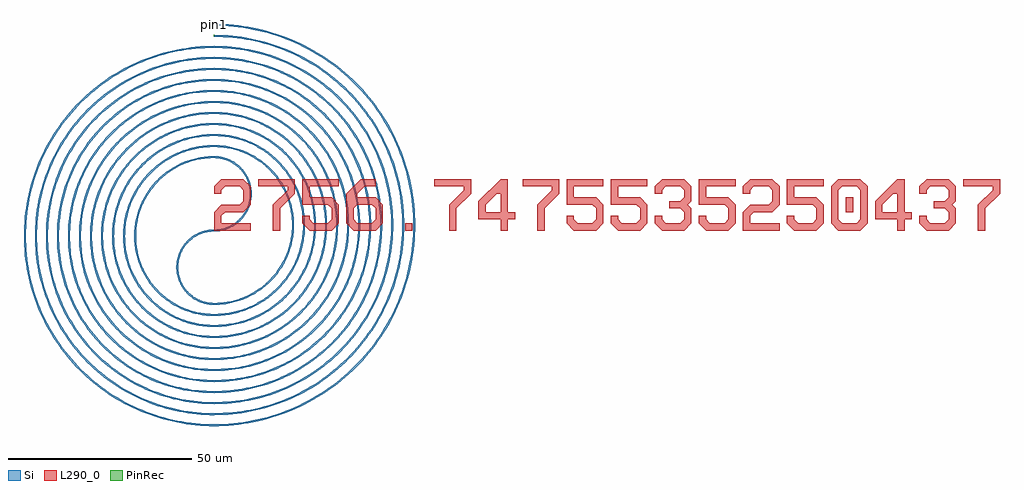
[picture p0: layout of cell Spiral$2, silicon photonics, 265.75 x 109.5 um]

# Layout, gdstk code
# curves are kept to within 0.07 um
import gdstk
lib = gdstk.Library(unit=1e-6, precision=1e-09)
def R(c, l, rs):  # rectangles x0, y0, x1, y1
    for r in rs: c.add(gdstk.rectangle(r[:2], r[2:], *l))
def P(c, l, *ps):  # polygons
    for p in ps: c.add(gdstk.Polygon(p, *l))
Si = (1, 0)
PinRec = (1, 10)
L290_0 = (290, 0)

spiral_2 = lib.new_cell('Spiral$2')
P(spiral_2, Si, [(0,-0.25),(0,0.25),(1.194,0.323),(2.369,0.542),(3.509,0.903),(4.384,1.291),(5.808,2.169),(7.061,3.277),(8.237,4.784),(9.097,6.491),(9.563,8.098),(9.75,10),(9.563,11.902),(9.097,13.509),(8.237,15.216),(7.061,16.723),(5.808,17.831),(4.384,18.709),(3.509,19.097),(2.369,19.458),(1.194,19.677),(0,19.75),(0,20.25),(1.005,20.201),(2,20.053),(2.975,19.809),(3.923,19.47),(5.695,18.523),(7.248,17.248),(8.523,15.695),(9.47,13.923),(9.809,12.975),(10.053,12),(10.201,11.005),(10.25,10),(10.201,8.995),(10.053,8),(9.809,7.025),(9.47,6.077),(8.523,4.305),(7.248,2.752),(5.695,1.477),(3.923,0.53),(2.975,0.191),(2,-0.053),(1.005,-0.201)],
  [(0,-20.25),(-1.005,-20.201),(-2,-20.053),(-3.923,-19.47),(-5.695,-18.523),(-7.248,-17.248),(-8.523,-15.695),(-9.47,-13.923),(-10.053,-12),(-10.201,-11.005),(-10.25,-10),(-10.201,-8.995),(-10.001,-7.754),(-9.371,-5.846),(-8.792,-4.73),(-8.233,-3.894),(-7.424,-2.932),(-6.695,-2.239),(-5.052,-1.082),(-4.154,-0.629),(-3.215,-0.267),(-1.504,0.139),(0.956,0.297),(2.136,0.487),(3.509,0.903),(4.806,1.517),(6.185,2.463),(7.537,3.815),(8.599,5.404),(9.258,6.942),(9.563,8.098),(9.724,9.283),(9.747,10.239),(9.644,11.431),(9.458,12.369),(9.097,13.509),(8.599,14.596),(7.971,15.614),(7.224,16.548),(6.548,17.224),(5.013,18.363),(3.951,18.914),(2.6,19.397),(1.194,19.677),(0,19.75),(0,20.25),(1.005,20.201),(2,20.053),(3.923,19.47),(5.695,18.523),(7.248,17.248),(8.523,15.695),(9.47,13.923),(10.053,12),(10.201,11.005),(10.25,10),(10.201,8.995),(10.001,7.754),(9.371,5.846),(8.792,4.73),(8.233,3.894),(7.424,2.932),(6.695,2.239),(5.052,1.082),(4.154,0.629),(3.215,0.267),(1.504,-0.139),(-0.956,-0.297),(-2.136,-0.487),(-3.509,-0.903),(-4.806,-1.517),(-6.185,-2.463),(-7.537,-3.815),(-8.599,-5.404),(-9.258,-6.942),(-9.563,-8.098),(-9.724,-9.283),(-9.747,-10.239),(-9.644,-11.431),(-9.458,-12.369),(-9.097,-13.509),(-8.599,-14.596),(-7.971,-15.614),(-7.224,-16.548),(-6.548,-17.224),(-5.013,-18.363),(-3.951,-18.914),(-2.6,-19.397),(-1.194,-19.677),(0,-19.75)],
  [(0,-20.25),(0,-19.75),(2.083,-19.648),(4.146,-19.342),(6.169,-18.835),(8.611,-17.927),(10.474,-16.989),(12.236,-15.874),(13.88,-14.591),(15.026,-13.526),(16.426,-11.981),(17.669,-10.306),(18.741,-8.517),(19.632,-6.632),(20.335,-4.669),(20.842,-2.646),(21.148,-0.583),(21.25,1.5),(21.148,3.583),(20.842,5.646),(20.335,7.669),(19.632,9.632),(18.741,11.517),(17.669,13.306),(16.426,14.981),(15.026,16.526),(13.88,17.591),(12.236,18.874),(10.474,19.989),(8.611,20.927),(6.169,21.835),(4.146,22.342),(2.083,22.648),(0,22.75),(0,23.25),(2.132,23.145),(4.243,22.832),(6.314,22.313),(8.323,21.594),(10.253,20.682),(12.084,19.584),(13.798,18.313),(15.38,16.88),(16.813,15.298),(18.084,13.584),(19.182,11.753),(20.094,9.823),(20.813,7.814),(21.332,5.743),(21.645,3.632),(21.75,1.5),(21.645,-0.632),(21.332,-2.743),(20.813,-4.814),(20.094,-6.823),(19.182,-8.753),(18.084,-10.584),(16.813,-12.298),(15.38,-13.88),(13.798,-15.313),(12.084,-16.584),(10.253,-17.682),(8.323,-18.594),(6.314,-19.313),(4.243,-19.832),(2.132,-20.145)],
  [(0,-23.25),(-2.132,-23.145),(-4.243,-22.832),(-6.314,-22.313),(-8.323,-21.594),(-10.253,-20.682),(-12.084,-19.584),(-13.798,-18.313),(-15.38,-16.88),(-16.813,-15.298),(-18.084,-13.584),(-19.182,-11.753),(-20.094,-9.823),(-20.813,-7.814),(-21.332,-5.743),(-21.645,-3.632),(-21.75,-1.5),(-21.645,0.632),(-21.332,2.743),(-20.813,4.814),(-20.094,6.823),(-19.182,8.753),(-18.084,10.584),(-16.813,12.298),(-15.38,13.88),(-13.798,15.313),(-12.084,16.584),(-10.253,17.682),(-8.323,18.594),(-6.314,19.313),(-4.243,19.832),(-2.132,20.145),(0,20.25),(0,19.75),(-2.083,19.648),(-4.146,19.342),(-6.169,18.835),(-8.611,17.927),(-10.474,16.989),(-12.236,15.874),(-13.88,14.591),(-15.026,13.526),(-16.426,11.981),(-17.669,10.306),(-18.741,8.517),(-19.632,6.632),(-20.335,4.669),(-20.842,2.646),(-21.148,0.583),(-21.25,-1.5),(-21.148,-3.583),(-20.842,-5.646),(-20.335,-7.669),(-19.632,-9.632),(-18.741,-11.517),(-17.669,-13.306),(-16.426,-14.981),(-15.026,-16.526),(-13.88,-17.591),(-12.236,-18.874),(-10.474,-19.989),(-8.611,-20.927),(-6.169,-21.835),(-4.146,-22.342),(-2.083,-22.648),(0,-22.75)],
  [(0,-23.25),(0,-22.75),(2.968,-22.568),(5.313,-22.161),(7.607,-21.526),(9.827,-20.67),(11.953,-19.6),(13.473,-18.663),(15.384,-17.246),(17.147,-15.647),(18.746,-13.884),(20.163,-11.973),(21.387,-9.931),(22.404,-7.78),(23.206,-5.539),(23.784,-3.231),(24.133,-0.877),(24.25,1.5),(24.133,3.877),(23.784,6.231),(23.206,8.539),(22.404,10.78),(21.387,12.931),(20.163,14.973),(18.746,16.884),(17.147,18.647),(15.384,20.246),(13.473,21.663),(11.953,22.6),(9.827,23.67),(7.607,24.526),(5.313,25.161),(2.968,25.568),(0,25.75),(0,26.25),(2.426,26.131),(4.828,25.774),(7.185,25.184),(9.471,24.366),(11.667,23.328),(13.75,22.079),(15.701,20.632),(17.501,19.001),(19.132,17.201),(20.579,15.25),(21.828,13.167),(22.866,10.971),(23.684,8.685),(24.274,6.328),(24.631,3.926),(24.75,1.5),(24.631,-0.926),(24.274,-3.328),(23.684,-5.685),(22.866,-7.971),(21.828,-10.167),(20.579,-12.25),(19.132,-14.201),(17.501,-16.001),(15.701,-17.632),(13.75,-19.079),(11.667,-20.328),(9.471,-21.366),(7.185,-22.184),(4.828,-22.774),(2.426,-23.131)],
  [(0,-26.25),(-2.426,-26.131),(-4.828,-25.774),(-7.185,-25.184),(-9.471,-24.366),(-11.667,-23.328),(-13.75,-22.079),(-15.701,-20.632),(-17.501,-19.001),(-19.132,-17.201),(-20.579,-15.25),(-21.828,-13.167),(-22.866,-10.971),(-23.684,-8.685),(-24.274,-6.328),(-24.631,-3.926),(-24.75,-1.5),(-24.631,0.926),(-24.274,3.328),(-23.684,5.685),(-22.866,7.971),(-21.828,10.167),(-20.579,12.25),(-19.132,14.201),(-17.501,16.001),(-15.701,17.632),(-13.75,19.079),(-11.667,20.328),(-9.471,21.366),(-7.185,22.184),(-4.828,22.774),(-2.426,23.131),(0,23.25),(0,22.75),(-2.968,22.568),(-5.313,22.161),(-7.607,21.526),(-9.827,20.67),(-11.953,19.6),(-13.473,18.663),(-15.384,17.246),(-17.147,15.647),(-18.746,13.884),(-20.163,11.973),(-21.387,9.931),(-22.404,7.78),(-23.206,5.539),(-23.784,3.231),(-24.133,0.877),(-24.25,-1.5),(-24.133,-3.877),(-23.784,-6.231),(-23.206,-8.539),(-22.404,-10.78),(-21.387,-12.931),(-20.163,-14.973),(-18.746,-16.884),(-17.147,-18.647),(-15.384,-20.246),(-13.473,-21.663),(-11.953,-22.6),(-9.827,-23.67),(-7.607,-24.526),(-5.313,-25.161),(-2.968,-25.568),(0,-25.75)],
  [(0,-26.25),(0,-25.75),(2.671,-25.619),(5.971,-25.088),(8.548,-24.375),(11.043,-23.412),(12.846,-22.532),(15.139,-21.158),(17.287,-19.565),(19.269,-17.769),(21.065,-15.787),(22.658,-13.639),(24.032,-11.346),(25.176,-8.928),(26.077,-6.41),(26.726,-3.816),(27.119,-1.171),(27.25,1.5),(27.119,4.171),(26.726,6.816),(26.077,9.41),(25.176,11.928),(24.032,14.346),(22.658,16.639),(21.065,18.787),(19.269,20.769),(17.287,22.565),(15.139,24.158),(12.846,25.532),(11.043,26.412),(8.548,27.375),(5.971,28.088),(2.671,28.619),(0,28.75),(0,29.25),(2.72,29.116),(5.414,28.717),(8.055,28.055),(10.619,27.138),(13.081,25.973),(15.417,24.573),(17.604,22.951),(19.622,21.122),(21.451,19.104),(23.073,16.917),(24.473,14.581),(25.638,12.119),(26.555,9.555),(27.217,6.914),(27.616,4.22),(27.75,1.5),(27.616,-1.22),(27.217,-3.914),(26.555,-6.555),(25.638,-9.119),(24.473,-11.581),(23.073,-13.917),(21.451,-16.104),(19.622,-18.122),(17.604,-19.951),(15.417,-21.573),(13.081,-22.973),(10.619,-24.138),(8.055,-25.055),(5.414,-25.717),(2.72,-26.116)],
  [(0,-29.25),(-2.72,-29.116),(-5.414,-28.717),(-8.055,-28.055),(-10.619,-27.138),(-13.081,-25.973),(-15.417,-24.573),(-17.604,-22.951),(-19.622,-21.122),(-21.451,-19.104),(-23.073,-16.917),(-24.473,-14.581),(-25.638,-12.119),(-26.555,-9.555),(-27.217,-6.914),(-27.616,-4.22),(-27.75,-1.5),(-27.616,1.22),(-27.217,3.914),(-26.555,6.555),(-25.638,9.119),(-24.473,11.581),(-23.073,13.917),(-21.451,16.104),(-19.622,18.122),(-17.604,19.951),(-15.417,21.573),(-13.081,22.973),(-10.619,24.138),(-8.055,25.055),(-5.414,25.717),(-2.72,26.116),(0,26.25),(0,25.75),(-2.671,25.619),(-5.971,25.088),(-8.548,24.375),(-11.043,23.412),(-12.846,22.532),(-15.139,21.158),(-17.287,19.565),(-19.269,17.769),(-21.065,15.787),(-22.658,13.639),(-24.032,11.346),(-25.176,8.928),(-26.077,6.41),(-26.726,3.816),(-27.119,1.171),(-27.25,-1.5),(-27.119,-4.171),(-26.726,-6.816),(-26.077,-9.41),(-25.176,-11.928),(-24.032,-14.346),(-22.658,-16.639),(-21.065,-18.787),(-19.269,-20.769),(-17.287,-22.565),(-15.139,-24.158),(-12.846,-25.532),(-11.043,-26.412),(-8.548,-27.375),(-5.971,-28.088),(-2.671,-28.619),(0,-28.75)],
  [(0,-29.25),(0,-28.75),(2.965,-28.604),(5.901,-28.169),(8.068,-27.654),(9.489,-27.223),(12.259,-26.155),(14.26,-25.178),(16.806,-23.652),(19.19,-21.884),(21.39,-19.89),(23.384,-17.69),(25.152,-15.306),(26.678,-12.76),(27.947,-10.076),(28.947,-7.281),(29.669,-4.401),(30.104,-1.465),(30.25,1.5),(30.104,4.465),(29.669,7.401),(28.947,10.281),(27.947,13.076),(26.678,15.76),(25.152,18.306),(23.384,20.69),(21.39,22.89),(19.19,24.884),(16.806,26.652),(14.26,28.178),(12.259,29.155),(9.489,30.223),(8.068,30.654),(5.901,31.169),(2.965,31.604),(0,31.75),(0,32.25),(3.014,32.102),(5.999,31.659),(8.926,30.926),(11.768,29.909),(14.495,28.619),(17.084,27.068),(19.508,25.27),(21.744,23.244),(23.77,21.008),(25.568,18.584),(27.119,15.995),(28.409,13.268),(29.426,10.426),(30.159,7.499),(30.602,4.514),(30.75,1.5),(30.602,-1.514),(30.159,-4.499),(29.426,-7.426),(28.409,-10.268),(27.119,-12.995),(25.568,-15.584),(23.77,-18.008),(21.744,-20.244),(19.508,-22.27),(17.084,-24.068),(14.495,-25.619),(11.768,-26.909),(8.926,-27.926),(5.999,-28.659),(3.014,-29.102)],
  [(0,-32.25),(-3.014,-32.102),(-5.999,-31.659),(-8.926,-30.926),(-11.768,-29.909),(-14.495,-28.619),(-17.084,-27.068),(-19.508,-25.27),(-21.744,-23.244),(-23.77,-21.008),(-25.568,-18.584),(-27.119,-15.995),(-28.409,-13.268),(-29.426,-10.426),(-30.159,-7.499),(-30.602,-4.514),(-30.75,-1.5),(-30.602,1.514),(-30.159,4.499),(-29.426,7.426),(-28.409,10.268),(-27.119,12.995),(-25.568,15.584),(-23.77,18.008),(-21.744,20.244),(-19.508,22.27),(-17.084,24.068),(-14.495,25.619),(-11.768,26.909),(-8.926,27.926),(-5.999,28.659),(-3.014,29.102),(0,29.25),(0,28.75),(-2.965,28.604),(-5.901,28.169),(-8.068,27.654),(-9.489,27.223),(-12.259,26.155),(-14.26,25.178),(-16.806,23.652),(-19.19,21.884),(-21.39,19.89),(-23.384,17.69),(-25.152,15.306),(-26.678,12.76),(-27.947,10.076),(-28.947,7.281),(-29.669,4.401),(-30.104,1.465),(-30.25,-1.5),(-30.104,-4.465),(-29.669,-7.401),(-28.947,-10.281),(-27.947,-13.076),(-26.678,-15.76),(-25.152,-18.306),(-23.384,-20.69),(-21.39,-22.89),(-19.19,-24.884),(-16.806,-26.652),(-14.26,-28.178),(-12.259,-29.155),(-9.489,-30.223),(-8.068,-30.654),(-5.901,-31.169),(-2.965,-31.604),(0,-31.75)],
  [(0,-32.25),(0,-31.75),(1.632,-31.71),(4.07,-31.5),(6.487,-31.111),(8.079,-30.754),(10.43,-30.072),(13.474,-28.897),(16.389,-27.43),(19.146,-25.685),(21.094,-24.203),(23.511,-22.011),(25.703,-19.594),(27.646,-16.973),(29.324,-14.174),(30.719,-11.224),(31.818,-8.152),(32.611,-4.987),(33.09,-1.759),(33.25,1.5),(33.09,4.759),(32.611,7.987),(31.818,11.152),(30.719,14.224),(29.324,17.174),(27.646,19.973),(25.703,22.594),(23.511,25.011),(21.094,27.203),(19.146,28.685),(16.389,30.43),(13.474,31.897),(10.43,33.072),(8.079,33.754),(6.487,34.111),(4.07,34.5),(2.446,34.66),(0,34.75),(0,35.25),(3.308,35.087),(6.584,34.602),(9.797,33.797),(12.916,32.681),(15.91,31.265),(18.75,29.562),(21.411,27.589),(23.865,25.365),(26.089,22.911),(28.062,20.25),(29.765,17.41),(31.181,14.416),(32.297,11.297),(33.102,8.084),(33.587,4.808),(33.75,1.5),(33.587,-1.808),(33.102,-5.084),(32.297,-8.297),(31.181,-11.416),(29.765,-14.41),(28.062,-17.25),(26.089,-19.911),(23.865,-22.365),(21.411,-24.589),(18.75,-26.562),(15.91,-28.265),(12.916,-29.681),(9.797,-30.797),(6.584,-31.602),(3.308,-32.087)],
  [(0,-35.25),(-3.308,-35.087),(-6.584,-34.602),(-9.797,-33.797),(-12.916,-32.681),(-15.91,-31.265),(-18.75,-29.562),(-21.411,-27.589),(-23.865,-25.365),(-26.089,-22.911),(-28.062,-20.25),(-29.765,-17.41),(-31.181,-14.416),(-32.297,-11.297),(-33.102,-8.084),(-33.587,-4.808),(-33.75,-1.5),(-33.587,1.808),(-33.102,5.084),(-32.297,8.297),(-31.181,11.416),(-29.765,14.41),(-28.062,17.25),(-26.089,19.911),(-23.865,22.365),(-21.411,24.589),(-18.75,26.562),(-15.91,28.265),(-12.916,29.681),(-9.797,30.797),(-6.584,31.602),(-3.308,32.087),(0,32.25),(0,31.75),(-1.632,31.71),(-4.07,31.5),(-6.487,31.111),(-8.079,30.754),(-10.43,30.072),(-13.474,28.897),(-16.389,27.43),(-19.146,25.685),(-21.094,24.203),(-23.511,22.011),(-25.703,19.594),(-27.646,16.973),(-29.324,14.174),(-30.719,11.224),(-31.818,8.152),(-32.611,4.987),(-33.09,1.759),(-33.25,-1.5),(-33.09,-4.759),(-32.611,-7.987),(-31.818,-11.152),(-30.719,-14.224),(-29.324,-17.174),(-27.646,-19.973),(-25.703,-22.594),(-23.511,-25.011),(-21.094,-27.203),(-19.146,-28.685),(-16.389,-30.43),(-13.474,-31.897),(-10.43,-33.072),(-8.079,-33.754),(-6.487,-34.111),(-4.07,-34.5),(-2.446,-34.66),(0,-34.75)],
  [(0,-35.25),(0,-34.75),(2.667,-34.652),(4.437,-34.477),(6.197,-34.216),(8.808,-33.664),(12.212,-32.631),(14.69,-31.64),(17.868,-30.041),(20.139,-28.641),(22.997,-26.522),(25.633,-24.133),(28.022,-21.497),(30.141,-18.639),(31.97,-15.588),(33.491,-12.372),(34.689,-9.023),(35.553,-5.572),(36.075,-2.053),(36.25,1.5),(36.075,5.053),(35.553,8.572),(34.689,12.023),(33.491,15.372),(31.97,18.588),(30.141,21.639),(28.022,24.497),(25.633,27.133),(22.997,29.522),(20.139,31.641),(17.868,33.041),(14.69,34.64),(12.212,35.631),(8.808,36.664),(6.197,37.216),(4.437,37.477),(2.667,37.652),(0,37.75),(0,38.25),(3.602,38.073),(7.17,37.544),(10.668,36.668),(14.064,35.453),(17.324,33.911),(20.417,32.057),(23.314,29.908),(25.986,27.486),(28.408,24.814),(30.557,21.917),(32.411,18.824),(33.953,15.564),(35.168,12.168),(36.044,8.67),(36.573,5.102),(36.75,1.5),(36.573,-2.102),(36.044,-5.67),(35.168,-9.168),(33.953,-12.564),(32.411,-15.824),(30.557,-18.917),(28.408,-21.814),(25.986,-24.486),(23.314,-26.908),(20.417,-29.057),(17.324,-30.911),(14.064,-32.453),(10.668,-33.668),(7.17,-34.544),(3.602,-35.073)],
  [(0,-38.25),(-3.602,-38.073),(-7.17,-37.544),(-10.668,-36.668),(-14.064,-35.453),(-17.324,-33.911),(-20.417,-32.057),(-23.314,-29.908),(-25.986,-27.486),(-28.408,-24.814),(-30.557,-21.917),(-32.411,-18.824),(-33.953,-15.564),(-35.168,-12.168),(-36.044,-8.67),(-36.573,-5.102),(-36.75,-1.5),(-36.573,2.102),(-36.044,5.67),(-35.168,9.168),(-33.953,12.564),(-32.411,15.824),(-30.557,18.917),(-28.408,21.814),(-25.986,24.486),(-23.314,26.908),(-20.417,29.057),(-17.324,30.911),(-14.064,32.453),(-10.668,33.668),(-7.17,34.544),(-3.602,35.073),(0,35.25),(0,34.75),(-2.667,34.652),(-4.437,34.477),(-6.197,34.216),(-8.808,33.664),(-12.212,32.631),(-14.69,31.64),(-17.868,30.041),(-20.139,28.641),(-22.997,26.522),(-25.633,24.133),(-28.022,21.497),(-30.141,18.639),(-31.97,15.588),(-33.491,12.372),(-34.689,9.023),(-35.553,5.572),(-36.075,2.053),(-36.25,-1.5),(-36.075,-5.053),(-35.553,-8.572),(-34.689,-12.023),(-33.491,-15.372),(-31.97,-18.588),(-30.141,-21.639),(-28.022,-24.497),(-25.633,-27.133),(-22.997,-29.522),(-20.139,-31.641),(-17.868,-33.041),(-14.69,-34.64),(-12.212,-35.631),(-8.808,-36.664),(-6.197,-37.216),(-4.437,-37.477),(-2.667,-37.652),(0,-37.75)],
  [(0,-38.25),(0,-37.75),(1.926,-37.703),(4.805,-37.455),(7.657,-36.996),(9.537,-36.574),(13.223,-35.456),(15.906,-34.383),(19.346,-32.651),(21.806,-31.135),(24.9,-28.841),(27.754,-26.254),(30.341,-23.4),(32.635,-20.306),(34.615,-17.002),(36.262,-13.52),(37.56,-9.894),(38.496,-6.157),(39.061,-2.347),(39.25,1.5),(39.061,5.347),(38.496,9.157),(37.56,12.894),(36.262,16.52),(34.615,20.002),(32.635,23.306),(30.341,26.4),(27.754,29.254),(24.9,31.841),(21.806,34.135),(19.346,35.651),(15.906,37.383),(13.223,38.456),(9.537,39.574),(7.657,39.996),(4.805,40.455),(2.887,40.644),(0,40.75),(0,41.25),(3.896,41.059),(7.755,40.486),(11.539,39.538),(15.212,38.224),(18.738,36.556),(22.084,34.551),(25.217,32.227),(28.107,29.607),(30.727,26.717),(33.051,23.584),(35.056,20.238),(36.724,16.712),(38.038,13.039),(38.986,9.255),(39.559,5.396),(39.75,1.5),(39.559,-2.396),(38.986,-6.255),(38.038,-10.039),(36.724,-13.712),(35.056,-17.238),(33.051,-20.584),(30.727,-23.717),(28.107,-26.607),(25.217,-29.227),(22.084,-31.551),(18.738,-33.556),(15.212,-35.224),(11.539,-36.538),(7.755,-37.486),(3.896,-38.059)],
  [(0,-41.25),(-3.896,-41.059),(-7.755,-40.486),(-11.539,-39.538),(-15.212,-38.224),(-18.738,-36.556),(-22.084,-34.551),(-25.217,-32.227),(-28.107,-29.607),(-30.727,-26.717),(-33.051,-23.584),(-35.056,-20.238),(-36.724,-16.712),(-38.038,-13.039),(-38.986,-9.255),(-39.559,-5.396),(-39.75,-1.5),(-39.559,2.396),(-38.986,6.255),(-38.038,10.039),(-36.724,13.712),(-35.056,17.238),(-33.051,20.584),(-30.727,23.717),(-28.107,26.607),(-25.217,29.227),(-22.084,31.551),(-18.738,33.556),(-15.212,35.224),(-11.539,36.538),(-7.755,37.486),(-3.896,38.059),(0,38.25),(0,37.75),(-1.926,37.703),(-4.805,37.455),(-7.657,36.996),(-9.537,36.574),(-13.223,35.456),(-15.906,34.383),(-19.346,32.651),(-21.806,31.135),(-24.9,28.841),(-27.754,26.254),(-30.341,23.4),(-32.635,20.306),(-34.615,17.002),(-36.262,13.52),(-37.56,9.894),(-38.496,6.157),(-39.061,2.347),(-39.25,-1.5),(-39.061,-5.347),(-38.496,-9.157),(-37.56,-12.894),(-36.262,-16.52),(-34.615,-20.002),(-32.635,-23.306),(-30.341,-26.4),(-27.754,-29.254),(-24.9,-31.841),(-21.806,-34.135),(-19.346,-35.651),(-15.906,-37.383),(-13.223,-38.456),(-9.537,-39.574),(-7.657,-39.996),(-4.805,-40.455),(-2.887,-40.644),(0,-40.75)],
  [(0,-41.25),(0,-40.75),(3.108,-40.636),(5.172,-40.432),(7.223,-40.128),(10.266,-39.484),(13.253,-38.618),(15.206,-37.919),(17.121,-37.125),(19.917,-35.761),(21.721,-34.739),(23.473,-33.63),(25.168,-32.436),(26.803,-31.16),(28.373,-29.805),(29.875,-28.375),(31.305,-26.873),(32.66,-25.303),(33.936,-23.668),(35.13,-21.973),(36.239,-20.221),(37.261,-18.417),(38.194,-16.564),(39.034,-14.668),(39.78,-12.734),(40.431,-10.765),(40.984,-8.766),(41.438,-6.743),(41.793,-4.699),(42.047,-2.641),(42.199,-0.573),(42.25,1.5),(42.199,3.573),(42.047,5.641),(41.793,7.699),(41.438,9.743),(40.984,11.766),(40.431,13.765),(39.78,15.734),(39.034,17.668),(38.194,19.564),(37.261,21.417),(36.239,23.221),(35.13,24.973),(33.936,26.668),(32.66,28.303),(31.305,29.873),(29.875,31.375),(28.373,32.805),(26.803,34.16),(25.168,35.436),(23.473,36.63),(21.721,37.739),(19.917,38.761),(17.121,40.125),(15.206,40.919),(13.253,41.618),(10.266,42.484),(7.223,43.128),(5.172,43.432),(3.108,43.636),(0,43.75),(0,44.25),(2.098,44.199),(4.19,44.044),(6.273,43.787),(8.34,43.429),(10.387,42.969),(12.41,42.409),(14.402,41.751),(16.36,40.996),(18.278,40.146),(20.152,39.202),(21.978,38.168),(23.751,37.045),(25.466,35.837),(27.12,34.546),(28.709,33.176),(30.229,31.729),(31.676,30.209),(33.046,28.62),(34.337,26.966),(35.545,25.251),(36.668,23.478),(37.702,21.652),(38.646,19.778),(39.496,17.86),(40.251,15.902),(40.909,13.91),(41.469,11.887),(41.929,9.84),(42.287,7.773),(42.544,5.69),(42.699,3.598),(42.75,1.5),(42.699,-0.598),(42.544,-2.69),(42.287,-4.773),(41.929,-6.84),(41.469,-8.887),(40.909,-10.91),(40.251,-12.902),(39.496,-14.86),(38.646,-16.778),(37.702,-18.652),(36.668,-20.478),(35.545,-22.251),(34.337,-23.966),(33.046,-25.62),(31.676,-27.209),(30.229,-28.729),(28.709,-30.176),(27.12,-31.546),(25.466,-32.837),(23.751,-34.045),(21.978,-35.168),(20.152,-36.202),(18.278,-37.146),(16.36,-37.996),(14.402,-38.751),(12.41,-39.409),(10.387,-39.969),(8.34,-40.429),(6.273,-40.787),(4.19,-41.044),(2.098,-41.199)],
  [(0,-44.25),(-2.098,-44.199),(-4.19,-44.044),(-6.273,-43.787),(-8.34,-43.429),(-10.387,-42.969),(-12.41,-42.409),(-14.402,-41.751),(-16.36,-40.996),(-18.278,-40.146),(-20.152,-39.202),(-21.978,-38.168),(-23.751,-37.045),(-25.466,-35.837),(-27.12,-34.546),(-28.709,-33.176),(-30.229,-31.729),(-31.676,-30.209),(-33.046,-28.62),(-34.337,-26.966),(-35.545,-25.251),(-36.668,-23.478),(-37.702,-21.652),(-38.646,-19.778),(-39.496,-17.86),(-40.251,-15.902),(-40.909,-13.91),(-41.469,-11.887),(-41.929,-9.84),(-42.287,-7.773),(-42.544,-5.69),(-42.699,-3.598),(-42.75,-1.5),(-42.699,0.598),(-42.544,2.69),(-42.287,4.773),(-41.929,6.84),(-41.469,8.887),(-40.909,10.91),(-40.251,12.902),(-39.496,14.86),(-38.646,16.778),(-37.702,18.652),(-36.668,20.478),(-35.545,22.251),(-34.337,23.966),(-33.046,25.62),(-31.676,27.209),(-30.229,28.729),(-28.709,30.176),(-27.12,31.546),(-25.466,32.837),(-23.751,34.045),(-21.978,35.168),(-20.152,36.202),(-18.278,37.146),(-16.36,37.996),(-14.402,38.751),(-12.41,39.409),(-10.387,39.969),(-8.34,40.429),(-6.273,40.787),(-4.19,41.044),(-2.098,41.199),(0,41.25),(0,40.75),(-3.108,40.636),(-5.172,40.432),(-7.223,40.128),(-10.266,39.484),(-13.253,38.618),(-15.206,37.919),(-17.121,37.125),(-19.917,35.761),(-21.721,34.739),(-23.473,33.63),(-25.168,32.436),(-26.803,31.16),(-28.373,29.805),(-29.875,28.375),(-31.305,26.873),(-32.66,25.303),(-33.936,23.668),(-35.13,21.973),(-36.239,20.221),(-37.261,18.417),(-38.194,16.564),(-39.034,14.668),(-39.78,12.734),(-40.431,10.765),(-40.984,8.766),(-41.438,6.743),(-41.793,4.699),(-42.047,2.641),(-42.199,0.573),(-42.25,-1.5),(-42.199,-3.573),(-42.047,-5.641),(-41.793,-7.699),(-41.438,-9.743),(-40.984,-11.766),(-40.431,-13.765),(-39.78,-15.734),(-39.034,-17.668),(-38.194,-19.564),(-37.261,-21.417),(-36.239,-23.221),(-35.13,-24.973),(-33.936,-26.668),(-32.66,-28.303),(-31.305,-29.873),(-29.875,-31.375),(-28.373,-32.805),(-26.803,-34.16),(-25.168,-35.436),(-23.473,-36.63),(-21.721,-37.739),(-19.917,-38.761),(-17.121,-40.125),(-15.206,-40.919),(-13.253,-41.618),(-10.266,-42.484),(-7.223,-43.128),(-5.172,-43.432),(-3.108,-43.636),(0,-43.75)],
  [(0,-44.25),(0,-43.75),(3.329,-43.627),(5.539,-43.41),(8.828,-42.881),(10.995,-42.394),(13.135,-41.802),(15.244,-41.105),(18.337,-39.868),(21.331,-38.407),(23.263,-37.312),(25.14,-36.124),(26.955,-34.845),(28.706,-33.479),(30.388,-32.028),(31.997,-30.497),(33.528,-28.888),(34.979,-27.206),(36.345,-25.455),(37.624,-23.64),(38.812,-21.763),(39.907,-19.831),(40.906,-17.847),(41.806,-15.816),(42.605,-13.744),(43.302,-11.635),(43.894,-9.495),(44.381,-7.328),(44.76,-5.14),(45.032,-2.935),(45.195,-0.72),(45.25,1.5),(45.195,3.72),(45.032,5.935),(44.76,8.14),(44.381,10.328),(43.894,12.495),(43.302,14.635),(42.605,16.744),(41.806,18.816),(40.906,20.847),(39.907,22.831),(38.812,24.763),(37.624,26.64),(36.345,28.455),(34.979,30.206),(33.528,31.888),(31.997,33.497),(30.388,35.028),(28.706,36.479),(26.955,37.845),(25.14,39.124),(23.263,40.312),(21.331,41.407),(18.337,42.868),(15.244,44.105),(13.135,44.802),(10.995,45.394),(8.828,45.881),(5.539,46.41),(3.329,46.627),(0,46.75),(0,47.25),(2.245,47.195),(4.484,47.03),(6.713,46.755),(8.925,46.371),(11.116,45.879),(13.281,45.28),(15.413,44.576),(17.508,43.767),(19.561,42.858),(21.566,41.848),(23.52,40.741),(25.417,39.54),(27.253,38.247),(29.023,36.865),(30.724,35.399),(32.35,33.85),(33.899,32.224),(35.365,30.523),(36.747,28.753),(38.04,26.917),(39.241,25.02),(40.348,23.066),(41.358,21.061),(42.267,19.008),(43.076,16.913),(43.78,14.781),(44.379,12.616),(44.871,10.425),(45.255,8.213),(45.53,5.984),(45.695,3.745),(45.75,1.5),(45.695,-0.745),(45.53,-2.984),(45.255,-5.213),(44.871,-7.425),(44.379,-9.616),(43.78,-11.781),(43.076,-13.913),(42.267,-16.008),(41.358,-18.061),(40.348,-20.066),(39.241,-22.02),(38.04,-23.917),(36.747,-25.753),(35.365,-27.523),(33.899,-29.224),(32.35,-30.85),(30.724,-32.399),(29.023,-33.865),(27.253,-35.247),(25.417,-36.54),(23.52,-37.741),(21.566,-38.848),(19.561,-39.858),(17.508,-40.767),(15.413,-41.576),(13.281,-42.28),(11.116,-42.879),(8.925,-43.371),(6.713,-43.755),(4.484,-44.03),(2.245,-44.195)],
  [(0,-47.25),(-2.245,-47.195),(-4.484,-47.03),(-6.713,-46.755),(-8.925,-46.371),(-11.116,-45.879),(-13.281,-45.28),(-15.413,-44.576),(-17.508,-43.767),(-19.561,-42.858),(-21.566,-41.848),(-23.52,-40.741),(-25.417,-39.54),(-27.253,-38.247),(-29.023,-36.865),(-30.724,-35.399),(-32.35,-33.85),(-33.899,-32.224),(-35.365,-30.523),(-36.747,-28.753),(-38.04,-26.917),(-39.241,-25.02),(-40.348,-23.066),(-41.358,-21.061),(-42.267,-19.008),(-43.076,-16.913),(-43.78,-14.781),(-44.379,-12.616),(-44.871,-10.425),(-45.255,-8.213),(-45.53,-5.984),(-45.695,-3.745),(-45.75,-1.5),(-45.695,0.745),(-45.53,2.984),(-45.255,5.213),(-44.871,7.425),(-44.379,9.616),(-43.78,11.781),(-43.076,13.913),(-42.267,16.008),(-41.358,18.061),(-40.348,20.066),(-39.241,22.02),(-38.04,23.917),(-36.747,25.753),(-35.365,27.523),(-33.899,29.224),(-32.35,30.85),(-30.724,32.399),(-29.023,33.865),(-27.253,35.247),(-25.417,36.54),(-23.52,37.741),(-21.566,38.848),(-19.561,39.858),(-17.508,40.767),(-15.413,41.576),(-13.281,42.28),(-11.116,42.879),(-8.925,43.371),(-6.713,43.755),(-4.484,44.03),(-2.245,44.195),(0,44.25),(0,43.75),(-3.329,43.627),(-5.539,43.41),(-8.828,42.881),(-10.995,42.394),(-13.135,41.802),(-15.244,41.105),(-18.337,39.868),(-21.331,38.407),(-23.263,37.312),(-25.14,36.124),(-26.955,34.845),(-28.706,33.479),(-30.388,32.028),(-31.997,30.497),(-33.528,28.888),(-34.979,27.206),(-36.345,25.455),(-37.624,23.64),(-38.812,21.763),(-39.907,19.831),(-40.906,17.847),(-41.806,15.816),(-42.605,13.744),(-43.302,11.635),(-43.894,9.495),(-44.381,7.328),(-44.76,5.14),(-45.032,2.935),(-45.195,0.72),(-45.25,-1.5),(-45.195,-3.72),(-45.032,-5.935),(-44.76,-8.14),(-44.381,-10.328),(-43.894,-12.495),(-43.302,-14.635),(-42.605,-16.744),(-41.806,-18.816),(-40.906,-20.847),(-39.907,-22.831),(-38.812,-24.763),(-37.624,-26.64),(-36.345,-28.455),(-34.979,-30.206),(-33.528,-31.888),(-31.997,-33.497),(-30.388,-35.028),(-28.706,-36.479),(-26.955,-37.845),(-25.14,-39.124),(-23.263,-40.312),(-21.331,-41.407),(-18.337,-42.868),(-15.244,-44.105),(-13.135,-44.802),(-10.995,-45.394),(-8.828,-45.881),(-5.539,-46.41),(-3.329,-46.627),(0,-46.75)],
  [(0,-47.25),(0,-46.75),(2.368,-46.692),(4.729,-46.518),(8.249,-46.04),(10.572,-45.578),(12.869,-45.002),(15.135,-44.315),(17.365,-43.517),(19.553,-42.611),(21.694,-41.598),(23.782,-40.482),(25.814,-39.264),(27.783,-37.948),(29.685,-36.538),(31.516,-35.035),(34.118,-32.618),(35.751,-30.903),(37.298,-29.109),(38.755,-27.242),(40.118,-25.306),(41.385,-23.305),(42.553,-21.245),(43.617,-19.13),(44.577,-16.964),(45.43,-14.755),(46.172,-12.506),(46.804,-10.224),(47.323,-7.913),(47.728,-5.58),(48.018,-3.229),(48.192,-0.868),(48.25,1.5),(48.192,3.868),(48.018,6.229),(47.728,8.58),(47.323,10.913),(46.804,13.224),(46.172,15.506),(45.43,17.755),(44.577,19.964),(43.617,22.13),(42.553,24.245),(41.385,26.305),(40.118,28.306),(38.755,30.242),(37.298,32.109),(35.751,33.903),(34.118,35.618),(31.516,38.035),(29.685,39.538),(27.783,40.948),(25.814,42.264),(23.782,43.482),(21.694,44.598),(19.553,45.611),(17.365,46.517),(15.135,47.315),(12.869,48.002),(10.572,48.578),(8.249,49.04),(4.729,49.518),(2.368,49.692),(0,49.75),(0,50.25),(2.392,50.191),(4.778,50.015),(7.153,49.722),(9.511,49.313),(11.845,48.789),(14.151,48.151),(16.423,47.4),(18.656,46.539),(20.843,45.569),(22.981,44.494),(25.063,43.314),(27.084,42.034),(29.04,40.656),(30.927,39.184),(32.738,37.621),(34.471,35.971),(36.121,34.238),(37.684,32.427),(39.156,30.54),(40.534,28.584),(41.814,26.563),(42.994,24.481),(44.069,22.343),(45.039,20.156),(45.9,17.923),(46.651,15.651),(47.289,13.345),(47.813,11.011),(48.222,8.653),(48.515,6.278),(48.691,3.892),(48.75,1.5),(48.691,-0.892),(48.515,-3.278),(48.222,-5.653),(47.813,-8.011),(47.289,-10.345),(46.651,-12.651),(45.9,-14.923),(45.039,-17.156),(44.069,-19.343),(42.994,-21.481),(41.814,-23.563),(40.534,-25.584),(39.156,-27.54),(37.684,-29.427),(36.121,-31.238),(34.471,-32.971),(32.738,-34.621),(30.927,-36.184),(29.04,-37.656),(27.084,-39.034),(25.063,-40.314),(22.981,-41.494),(20.843,-42.569),(18.656,-43.539),(16.423,-44.4),(14.151,-45.151),(11.845,-45.789),(9.511,-46.313),(7.153,-46.722),(4.778,-47.015),(2.392,-47.191)],
  [(0,-50.25),(-2.392,-50.191),(-4.778,-50.015),(-7.153,-49.722),(-9.511,-49.313),(-11.845,-48.789),(-14.151,-48.151),(-16.423,-47.4),(-18.656,-46.539),(-20.843,-45.569),(-22.981,-44.494),(-25.063,-43.314),(-27.084,-42.034),(-29.04,-40.656),(-30.927,-39.184),(-32.738,-37.621),(-34.471,-35.971),(-36.121,-34.238),(-37.684,-32.427),(-39.156,-30.54),(-40.534,-28.584),(-41.814,-26.563),(-42.994,-24.481),(-44.069,-22.343),(-45.039,-20.156),(-45.9,-17.923),(-46.651,-15.651),(-47.289,-13.345),(-47.813,-11.011),(-48.222,-8.653),(-48.515,-6.278),(-48.691,-3.892),(-48.75,-1.5),(-48.691,0.892),(-48.515,3.278),(-48.222,5.653),(-47.813,8.011),(-47.289,10.345),(-46.651,12.651),(-45.9,14.923),(-45.039,17.156),(-44.069,19.343),(-42.994,21.481),(-41.814,23.563),(-40.534,25.584),(-39.156,27.54),(-37.684,29.427),(-36.121,31.238),(-34.471,32.971),(-32.738,34.621),(-30.927,36.184),(-29.04,37.656),(-27.084,39.034),(-25.063,40.314),(-22.981,41.494),(-20.843,42.569),(-18.656,43.539),(-16.423,44.4),(-14.151,45.151),(-11.845,45.789),(-9.511,46.313),(-7.153,46.722),(-4.778,47.015),(-2.392,47.191),(0,47.25),(0,46.75),(-2.368,46.692),(-4.729,46.518),(-8.249,46.04),(-10.572,45.578),(-12.869,45.002),(-15.135,44.315),(-17.365,43.517),(-19.553,42.611),(-21.694,41.598),(-23.782,40.482),(-25.814,39.264),(-27.783,37.948),(-29.685,36.538),(-31.516,35.035),(-34.118,32.618),(-35.751,30.903),(-37.298,29.109),(-38.755,27.242),(-40.118,25.306),(-41.385,23.305),(-42.553,21.245),(-43.617,19.13),(-44.577,16.964),(-45.43,14.755),(-46.172,12.506),(-46.804,10.224),(-47.323,7.913),(-47.728,5.58),(-48.018,3.229),(-48.192,0.868),(-48.25,-1.5),(-48.192,-3.868),(-48.018,-6.229),(-47.728,-8.58),(-47.323,-10.913),(-46.804,-13.224),(-46.172,-15.506),(-45.43,-17.755),(-44.577,-19.964),(-43.617,-22.13),(-42.553,-24.245),(-41.385,-26.305),(-40.118,-28.306),(-38.755,-30.242),(-37.298,-32.109),(-35.751,-33.903),(-34.118,-35.618),(-31.516,-38.035),(-29.685,-39.538),(-27.783,-40.948),(-25.814,-42.264),(-23.782,-43.482),(-21.694,-44.598),(-19.553,-45.611),(-17.365,-46.517),(-15.135,-47.315),(-12.869,-48.002),(-10.572,-48.578),(-8.249,-49.04),(-4.729,-49.518),(-2.368,-49.692),(0,-49.75)],
  [(0,-50.25),(0,-49.75),(3.77,-49.611),(6.274,-49.365),(8.762,-48.995),(11.229,-48.505),(14.877,-47.543),(17.266,-46.754),(19.613,-45.849),(21.912,-44.829),(24.159,-43.698),(26.348,-42.459),(28.473,-41.113),(30.53,-39.664),(32.513,-38.117),(34.417,-36.474),(36.239,-34.739),(37.974,-32.917),(39.617,-31.013),(41.164,-29.03),(42.613,-26.973),(43.959,-24.848),(45.198,-22.659),(46.329,-20.412),(47.349,-18.113),(48.254,-15.766),(49.043,-13.377),(49.714,-10.953),(50.265,-8.498),(50.695,-6.02),(51.003,-3.523),(51.188,-1.015),(51.25,1.5),(51.188,4.015),(51.003,6.523),(50.695,9.02),(50.265,11.498),(49.714,13.953),(49.043,16.377),(48.254,18.766),(47.349,21.113),(46.329,23.412),(45.198,25.659),(43.959,27.848),(42.613,29.973),(41.164,32.03),(39.617,34.013),(37.974,35.917),(36.239,37.739),(34.417,39.474),(32.513,41.117),(30.53,42.664),(28.473,44.113),(26.348,45.459),(24.159,46.698),(21.912,47.829),(19.613,48.849),(17.266,49.754),(14.877,50.543),(11.229,51.505),(8.762,51.995),(6.274,52.365),(3.77,52.611),(0,52.75),(0,53.25),(2.539,53.188),(5.072,53.001),(7.593,52.69),(10.096,52.256),(12.574,51.699),(15.022,51.022),(17.434,50.225),(19.804,49.311),(22.126,48.281),(24.395,47.139),(26.605,45.887),(28.751,44.529),(30.827,43.066),(32.83,41.503),(34.753,39.844),(36.593,38.093),(38.344,36.253),(40.003,34.33),(41.566,32.327),(43.029,30.251),(44.387,28.105),(45.639,25.895),(46.781,23.626),(47.811,21.304),(48.725,18.934),(49.522,16.522),(50.199,14.074),(50.756,11.596),(51.19,9.093),(51.501,6.572),(51.688,4.039),(51.75,1.5),(51.688,-1.039),(51.501,-3.572),(51.19,-6.093),(50.756,-8.596),(50.199,-11.074),(49.522,-13.522),(48.725,-15.934),(47.811,-18.304),(46.781,-20.626),(45.639,-22.895),(44.387,-25.105),(43.029,-27.251),(41.566,-29.327),(40.003,-31.33),(38.344,-33.253),(36.593,-35.093),(34.753,-36.844),(32.83,-38.503),(30.827,-40.066),(28.751,-41.529),(26.605,-42.887),(24.395,-44.139),(22.126,-45.281),(19.804,-46.311),(17.434,-47.225),(15.022,-48.022),(12.574,-48.699),(10.096,-49.256),(7.593,-49.69),(5.072,-50.001),(2.539,-50.188)],
  [(0,-53.25),(-2.539,-53.188),(-5.072,-53.001),(-7.593,-52.69),(-10.096,-52.256),(-12.574,-51.699),(-15.022,-51.022),(-17.434,-50.225),(-19.804,-49.311),(-22.126,-48.281),(-24.395,-47.139),(-26.605,-45.887),(-28.751,-44.529),(-30.827,-43.066),(-32.83,-41.503),(-34.753,-39.844),(-36.593,-38.093),(-38.344,-36.253),(-40.003,-34.33),(-41.566,-32.327),(-43.029,-30.251),(-44.387,-28.105),(-45.639,-25.895),(-46.781,-23.626),(-47.811,-21.304),(-48.725,-18.934),(-49.522,-16.522),(-50.199,-14.074),(-50.756,-11.596),(-51.19,-9.093),(-51.501,-6.572),(-51.688,-4.039),(-51.75,-1.5),(-51.688,1.039),(-51.501,3.572),(-51.19,6.093),(-50.756,8.596),(-50.199,11.074),(-49.522,13.522),(-48.725,15.934),(-47.811,18.304),(-46.781,20.626),(-45.639,22.895),(-44.387,25.105),(-43.029,27.251),(-41.566,29.327),(-40.003,31.33),(-38.344,33.253),(-36.593,35.093),(-34.753,36.844),(-32.83,38.503),(-30.827,40.066),(-28.751,41.529),(-26.605,42.887),(-24.395,44.139),(-22.126,45.281),(-19.804,46.311),(-17.434,47.225),(-15.022,48.022),(-12.574,48.699),(-10.096,49.256),(-7.593,49.69),(-5.072,50.001),(-2.539,50.188),(0,50.25),(0,49.75),(-3.77,49.611),(-6.274,49.365),(-8.762,48.995),(-11.229,48.505),(-14.877,47.543),(-17.266,46.754),(-19.613,45.849),(-21.912,44.829),(-24.159,43.698),(-26.348,42.459),(-28.473,41.113),(-30.53,39.664),(-32.513,38.117),(-34.417,36.474),(-36.239,34.739),(-37.974,32.917),(-39.617,31.013),(-41.164,29.03),(-42.613,26.973),(-43.959,24.848),(-45.198,22.659),(-46.329,20.412),(-47.349,18.113),(-48.254,15.766),(-49.043,13.377),(-49.714,10.953),(-50.265,8.498),(-50.695,6.02),(-51.003,3.523),(-51.188,1.015),(-51.25,-1.5),(-51.188,-4.015),(-51.003,-6.523),(-50.695,-9.02),(-50.265,-11.498),(-49.714,-13.953),(-49.043,-16.377),(-48.254,-18.766),(-47.349,-21.113),(-46.329,-23.412),(-45.198,-25.659),(-43.959,-27.848),(-42.613,-29.973),(-41.164,-32.03),(-39.617,-34.013),(-37.974,-35.917),(-36.239,-37.739),(-34.417,-39.474),(-32.513,-41.117),(-30.53,-42.664),(-28.473,-44.113),(-26.348,-45.459),(-24.159,-46.698),(-21.912,-47.829),(-19.613,-48.849),(-17.266,-49.754),(-14.877,-50.543),(-11.229,-51.505),(-8.762,-51.995),(-6.274,-52.365),(-3.77,-52.611),(0,-52.75)],
  [(0,-53.25),(0,-52.75),(2.662,-52.685),(5.317,-52.489),(7.96,-52.163),(11.886,-51.432),(14.469,-50.785),(17.017,-50.012),(20.761,-48.62),(23.195,-47.541),(25.573,-46.344),(27.89,-45.032),(30.14,-43.607),(32.317,-42.074),(34.416,-40.436),(36.432,-38.697),(38.361,-36.861),(40.197,-34.932),(41.936,-32.916),(43.574,-30.817),(45.107,-28.64),(46.532,-26.39),(47.844,-24.073),(49.041,-21.695),(50.12,-19.261),(51.079,-16.776),(51.914,-14.248),(52.624,-11.682),(53.208,-9.084),(53.663,-6.46),(53.989,-3.817),(54.185,-1.162),(54.25,1.5),(54.185,4.162),(53.989,6.817),(53.663,9.46),(53.208,12.084),(52.624,14.682),(51.914,17.248),(51.079,19.776),(50.12,22.261),(49.041,24.695),(47.844,27.073),(46.532,29.39),(45.107,31.64),(43.574,33.817),(41.936,35.916),(40.197,37.932),(38.361,39.861),(36.432,41.697),(34.416,43.436),(32.317,45.074),(30.14,46.607),(27.89,48.032),(25.573,49.344),(23.195,50.541),(20.761,51.62),(17.017,53.012),(14.469,53.785),(11.886,54.432),(7.96,55.163),(5.317,55.489),(2.662,55.685),(0,55.75),(0,56.25),(2.686,56.184),(5.366,55.986),(8.033,55.657),(10.681,55.198),(13.303,54.609),(15.893,53.892),(18.445,53.05),(20.952,52.082),(23.409,50.993),(25.809,49.785),(28.147,48.461),(30.417,47.023),(32.615,45.476),(34.733,43.822),(36.768,42.067),(38.714,40.214),(40.567,38.268),(42.322,36.233),(43.976,34.115),(45.523,31.917),(46.961,29.647),(48.285,27.309),(49.493,24.909),(50.582,22.452),(51.55,19.945),(52.392,17.393),(53.109,14.803),(53.698,12.181),(54.157,9.533),(54.486,6.866),(54.684,4.186),(54.75,1.5),(54.684,-1.186),(54.486,-3.866),(54.157,-6.533),(53.698,-9.181),(53.109,-11.803),(52.392,-14.393),(51.55,-16.945),(50.582,-19.452),(49.493,-21.909),(48.285,-24.309),(46.961,-26.647),(45.523,-28.917),(43.976,-31.115),(42.322,-33.233),(40.567,-35.268),(38.714,-37.214),(36.768,-39.067),(34.733,-40.822),(32.615,-42.476),(30.417,-44.023),(28.147,-45.461),(25.809,-46.785),(23.409,-47.993),(20.952,-49.082),(18.445,-50.05),(15.893,-50.892),(13.303,-51.609),(10.681,-52.198),(8.033,-52.657),(5.366,-52.986),(2.686,-53.184)])
R(spiral_2, L290_0, [(52,0,54,2), (172,5,174,9)])
P(spiral_2, L290_0, [(0,0),(0,5),(2,7),(7,7),(8,8),(8,11),(7,12),(3,12),(2,11),(2,10),(0,10),(0,12),(2,14),(8,14),(10,12),(10,7),(8,5),(3,5),(2,4),(2,2),(10,2),(10,0)],
  [(16,0),(16,7),(20,11),(20,12),(12,12),(12,14),(22,14),(22,10),(18,6),(18,0)],
  [(26,0),(24,2),(24,4),(26,4),(26,3),(27,2),(31,2),(32,3),(32,6),(31,7),(24,7),(24,14),(34,14),(34,12),(26,12),(26,9),(32,9),(34,7),(34,2),(32,0)],
  [(38,0),(36,2),(36,10),(40,14),(44,14),(44,12),(41,12),(39,10),(39,9),(44,9),(46,7),(39,7),(38,6),(38,3),(39,2),(43,2),(44,3),(44,6),(43,7),(46,7),(46,2),(44,0)],
  [(64,0),(64,7),(68,11),(68,12),(60,12),(60,14),(70,14),(70,10),(66,6),(66,0)],
  [(78,0),(78,3),(72,3),(72,5),(78,5),(78,10),(77,10),(74,7),(74,5),(72,5),(72,8),(78,14),(80,14),(80,5),(82,5),(82,3),(80,3),(80,0)],
  [(88,0),(88,7),(92,11),(92,12),(84,12),(84,14),(94,14),(94,10),(90,6),(90,0)],
  [(98,0),(96,2),(96,4),(98,4),(98,3),(99,2),(103,2),(104,3),(104,6),(103,7),(96,7),(96,14),(106,14),(106,12),(98,12),(98,9),(104,9),(106,7),(106,2),(104,0)],
  [(110,0),(108,2),(108,4),(110,4),(110,3),(111,2),(115,2),(116,3),(116,6),(115,7),(108,7),(108,14),(118,14),(118,12),(110,12),(110,9),(116,9),(118,7),(118,2),(116,0)],
  [(122,0),(120,2),(120,4),(122,4),(122,3),(123,2),(127,2),(128,3),(128,5),(127,6),(124,6),(124,8),(127,8),(128,9),(128,11),(127,12),(123,12),(122,11),(122,10),(120,10),(120,12),(122,14),(128,14),(130,12),(130,8),(129,7),(130,6),(130,2),(128,0)],
  [(134,0),(132,2),(132,4),(134,4),(134,3),(135,2),(139,2),(140,3),(140,6),(139,7),(132,7),(132,14),(142,14),(142,12),(134,12),(134,9),(140,9),(142,7),(142,2),(140,0)],
  [(144,0),(144,5),(146,7),(151,7),(152,8),(152,11),(151,12),(147,12),(146,11),(146,10),(144,10),(144,12),(146,14),(152,14),(154,12),(154,7),(152,5),(147,5),(146,4),(146,2),(154,2),(154,0)],
  [(158,0),(156,2),(156,4),(158,4),(158,3),(159,2),(163,2),(164,3),(164,6),(163,7),(156,7),(156,14),(166,14),(166,12),(158,12),(158,9),(164,9),(166,7),(166,2),(164,0)],
  [(170,0),(168,2),(168,12),(170,14),(176,14),(178,12),(171,12),(170,11),(170,3),(171,2),(175,2),(176,3),(176,11),(175,12),(178,12),(178,2),(176,0)],
  [(186,0),(186,3),(180,3),(180,5),(186,5),(186,10),(185,10),(182,7),(182,5),(180,5),(180,8),(186,14),(188,14),(188,5),(190,5),(190,3),(188,3),(188,0)],
  [(194,0),(192,2),(192,4),(194,4),(194,3),(195,2),(199,2),(200,3),(200,5),(199,6),(196,6),(196,8),(199,8),(200,9),(200,11),(199,12),(195,12),(194,11),(194,10),(192,10),(192,12),(194,14),(200,14),(202,12),(202,8),(201,7),(202,6),(202,2),(200,0)],
  [(208,0),(208,7),(212,11),(212,12),(204,12),(204,14),(214,14),(214,10),(210,6),(210,0)])
spiral_2.add(gdstk.FlexPath([(0.05,56),(-0.05,56)], 0.5, ends="flush", simple_path=True, layer=1, datatype=10))  # PinRec
spiral_2.add(gdstk.FlexPath([(0.05,53),(-0.05,53)], 0.5, ends="flush", simple_path=True, layer=1, datatype=10))  # PinRec
spiral_2.add(gdstk.Label('pin1', (0,56), layer=1, texttype=10))
spiral_2.add(gdstk.Label('pin2', (0,53), layer=1, texttype=10))

lib.write_gds('Spiral_2.gds')
